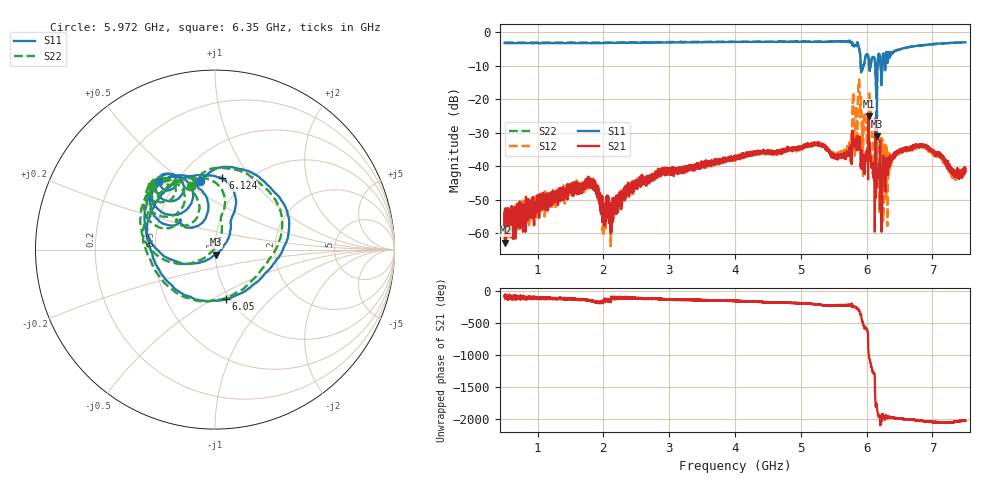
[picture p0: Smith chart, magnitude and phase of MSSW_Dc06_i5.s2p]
!Keysight Technologies,M9374A,MY55442783,A.12.55.05
!Date: Thursday, May 20, 2021 13:34:49
!Correction: S11(Full 2 Port(1,2))
!S21(Full 2 Port(1,2))
!S12(Full 2 Port(1,2))
!S22(Full 2 Port(1,2))
!S2P File: Measurements: S11, S21, S12, S22:
# Hz S  RI  R 50
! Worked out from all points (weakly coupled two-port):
!   7001 points, 500 MHz to 7.5 GHz, reference 50 ohm
!   highest |S21| = -25.09 dB at 6.031 GHz (marker M1); lowest = -62.8 dB at 513 MHz (marker M2)
!   lowest |S11| = -31.0 dB at 6.152 GHz (marker M3), VSWR 1.06, Z = 50.2 - j2.83 ohm
!   |S11| at or under -10 dB: 5.909 GHz to 5.946 GHz (36.36 MHz wide, 0.613 % of centre); 6.13 GHz to 6.165 GHz (34.3 MHz wide, 0.558 % of centre); 6.213581 GHz to 6.237618 GHz (24.04 MHz wide, 0.386 % of centre) (the widest 3 of 6)
!   |S22| runs from -42.7 to -2.5 dB; largest |S21 - S12| = 0.19
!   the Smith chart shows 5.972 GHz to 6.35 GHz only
!   S11 on the Smith chart (normalised r, x): 5.972 GHz: 0.64, +0.58; 6.05 GHz: 0.96, -0.58; 6.124 GHz: 0.78, +0.74; 6.35 GHz: 0.40, +0.41
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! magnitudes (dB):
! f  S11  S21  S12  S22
! 500 MHz  -3.2  -58.7  -53.9  -3.0
! 513 MHz  -3.2  -62.8  -55.6  -3.0
! 1.667 GHz  -3.2  -45.5  -45.4  -3.0
! 1.845 GHz  -3.2  -45.4  -45.1  -3.0
! 2.003 GHz  -3.1  -56.0  -53.9  -3.0
! 2.126 GHz  -3.1  -57.1  -52.6  -3.0
! 2.834 GHz  -3.0  -42.4  -42.1  -2.9
! 4 GHz  -2.8  -37.0  -37.9  -2.8
! 5.167 GHz  -2.8  -33.5  -33.9  -2.7
! 5.717 GHz  -2.9  -36.6  -34.6  -3.1
! 5.893 GHz  -5.4  -31.4  -15.7  -5.5
! 5.972 GHz  -8.2  -39.6  -24.6  -8.4
! 6.031 GHz  -8.0  -25.1  -24.7  -8.7
! 6.05 GHz  -10.9  -33.8  -19.1  -11.2
! 6.101 GHz  -7.2  -41.8  -37.5  -7.2
! 6.124 GHz  -8.0  -59.5  -38.8  -8.3
! 6.152 GHz  -31.0  -44.3  -23.8  -33.0
! 6.221 GHz  -13.9  -45.9  -32.6  -12.7
! 6.334 GHz  -6.0  -37.9  -35.9  -5.8
! 6.35 GHz  -6.1  -37.7  -38.1  -6.0
! 6.838 GHz  -3.8  -33.5  -33.8  -3.9
! 7.5 GHz  -2.9  -40.5  -40.8  -3.0
